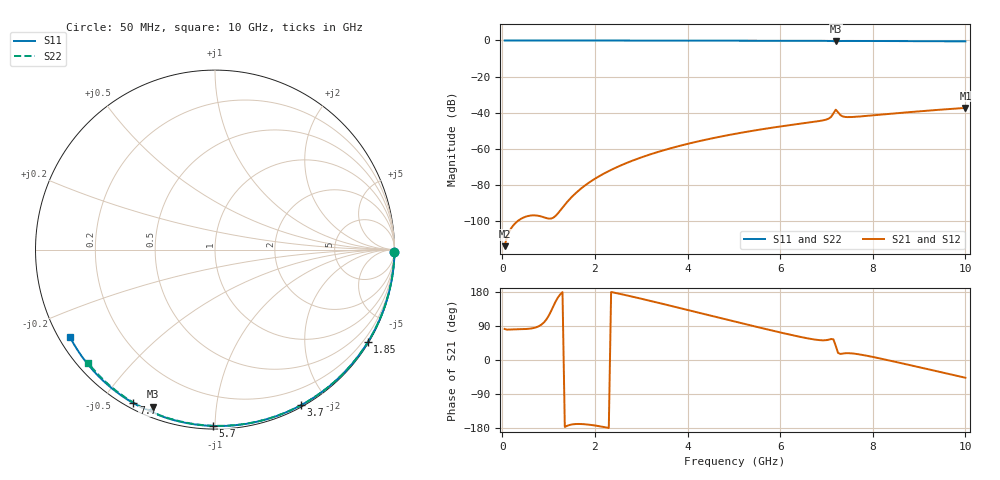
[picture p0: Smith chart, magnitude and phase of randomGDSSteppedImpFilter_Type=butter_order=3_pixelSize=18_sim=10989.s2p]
! freq	dB(S11)	phase(S11)	dB(S12)	phase(S12)
!  dB(S21)	phase(S21)	dB(S22)	phase(S22)
!S-par simulation data
#  GHz  S  DB  R 50
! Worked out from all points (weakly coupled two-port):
!   200 points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, 50 MHz to 10 GHz, reference 50 ohm
!   highest |S21| = -37.39 dB at 10 GHz (marker M1); lowest = -114.0 dB at 50 MHz (marker M2)
!   lowest |S11| = -0.5 dB at 7.2 GHz (marker M3), VSWR 32.81, Z = 2.23 - j33.9 ohm
!   |S11| at or under -10 dB: nowhere
!   |S22| runs from -0.5 to 0.0 dB; largest |S21 - S12| = 0
!   S11 on the Smith chart (normalised r, x): 50 MHz: open; 1.85 GHz: 0.03, -3.57; 3.7 GHz: 0.02, -1.70; 5.7 GHz: 0.02, -0.99; 7.7 GHz: 0.02, -0.60; 10 GHz: 0.03, -0.28
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0.05  -0.00 -0.9  -114.02 82.0  -114.02 82.0  -0.00 -0.8
0.9  -0.02 -15.4  -98.03 99.2  -98.03 99.2  -0.02 -14.3
1.75  -0.04 -29.6  -81.08 -169.2  -81.08 -169.2  -0.04 -27.6
1.8  -0.04 -30.5  -80.11 -169.7  -80.11 -169.7  -0.04 -28.3
1.85  -0.04 -31.3  -79.19 -170.3  -79.19 -170.3  -0.04 -29.1
2.15  -0.05 -36.2  -74.41 -175.9  -74.41 -175.9  -0.04 -33.7
2.5  -0.05 -41.9  -69.94 175.6  -69.94 175.6  -0.05 -39.0
2.9  -0.06 -48.4  -65.76 164.6  -65.76 164.6  -0.06 -45.0
3.4  -0.07 -56.3  -61.49 150.0  -61.49 150.0  -0.07 -52.4
3.7  -0.08 -61.0  -59.30 141.1  -59.30 141.1  -0.08 -56.8
4.35  -0.10 -70.9  -55.24 121.6  -55.24 121.6  -0.09 -66.1
5.05  -0.13 -81.3  -51.65 100.6  -51.65 100.6  -0.12 -75.8
5.7  -0.15 -90.7  -48.85 81.4  -48.85 81.4  -0.14 -84.6
6.7  -0.21 -104.8  -45.21 54.8  -45.21 54.8  -0.19 -97.7
7.05  -0.25 -110.0  -43.29 53.7  -43.29 53.7  -0.21 -102.1
7.1  -0.29 -110.9  -42.35 55.4  -42.35 55.4  -0.22 -102.7
7.2  -0.53 -111.6  -38.35 37.6  -38.35 37.6  -0.22 -104.0
7.3  -0.31 -112.0  -41.37 16.1  -41.37 16.1  -0.22 -105.2
7.35  -0.28 -112.9  -42.09 17.0  -42.09 17.0  -0.23 -105.9
7.7  -0.28 -118.0  -42.18 15.0  -42.18 15.0  -0.25 -110.3
8.35  -0.33 -126.8  -40.70 -1.1  -40.70 -1.1  -0.30 -118.3
10  -0.50 -148.9  -37.39 -46.8  -37.39 -46.8  -0.47 -138.2
